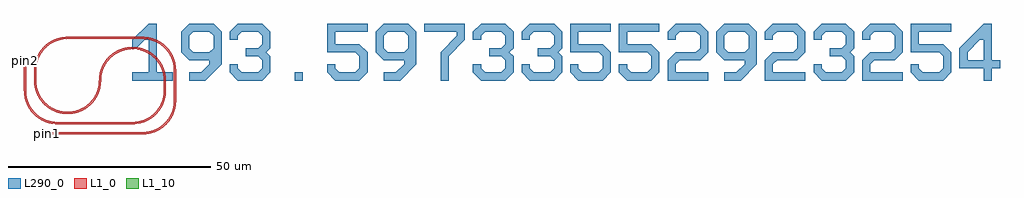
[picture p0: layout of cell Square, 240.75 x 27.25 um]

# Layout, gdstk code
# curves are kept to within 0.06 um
import gdstk
lib = gdstk.Library(unit=1e-6, precision=1e-09)
def R(c, l, rs):  # rectangles x0, y0, x1, y1
    for r in rs: c.add(gdstk.rectangle(r[:2], r[2:], *l))
def P(c, l, *ps):  # polygons
    for p in ps: c.add(gdstk.Polygon(p, *l))
L1_0 = (1, 0)
L1_10 = (1, 10)
L290_0 = (290, 0)

square = lib.new_cell('Square')
R(square, L1_0, [(-21,-13.25,2.5,-12.75), (-18.5,-10.75,0,-10.25), (10.25,-5,10.75,2.5), (-26.75,-2.5,-26.25,5), (7.75,-2.5,8.25,0), (-24.25,0,-23.75,2.5), (-16,10.25,2.5,10.75)])
P(square, L1_0, [(-8.25,0),(-8.094,1.597),(-7.632,3.134),(-6.825,4.636),(-5.869,5.798),(-4.636,6.825),(-3.134,7.632),(-1.597,8.094),(0,8.25),(0,7.75),(-1.593,7.585),(-2.944,7.169),(-4.355,6.411),(-5.447,5.513),(-6.411,4.355),(-7.133,3.031),(-7.585,1.593),(-7.75,0)],
  [(-16,-8.25),(-16,-7.75),(-14.407,-7.585),(-13.056,-7.169),(-11.645,-6.411),(-10.553,-5.513),(-9.589,-4.355),(-8.867,-3.031),(-8.415,-1.593),(-8.25,0),(-7.75,0),(-7.906,-1.597),(-8.368,-3.134),(-9.175,-4.636),(-10.131,-5.798),(-11.364,-6.825),(-12.866,-7.632),(-14.403,-8.094)],
  [(0,-10.75),(0,-10.25),(1.593,-10.085),(2.944,-9.669),(4.355,-8.911),(5.447,-8.013),(6.411,-6.855),(7.133,-5.531),(7.585,-4.093),(7.75,-2.5),(8.25,-2.5),(8.094,-4.097),(7.632,-5.634),(6.825,-7.136),(5.869,-8.298),(4.636,-9.325),(3.134,-10.132),(1.597,-10.594)],
  [(2.5,-13.25),(2.5,-12.75),(4.093,-12.585),(5.444,-12.169),(6.855,-11.411),(7.947,-10.513),(8.911,-9.355),(9.633,-8.031),(10.085,-6.593),(10.25,-5),(10.75,-5),(10.594,-6.597),(10.132,-8.134),(9.325,-9.636),(8.369,-10.798),(7.136,-11.825),(5.634,-12.632),(4.097,-13.094)],
  [(7.75,0),(7.621,1.408),(7.239,2.769),(6.566,4.118),(5.709,5.242),(4.737,6.134),(3.627,6.849),(2.769,7.239),(1.777,7.544),(0.848,7.704),(0,7.75),(0,8.25),(1.696,8.074),(3.319,7.553),(4.8,6.71),(6.077,5.58),(6.651,4.882),(7.145,4.125),(7.593,3.227),(7.9,2.377),(8.162,1.201),(8.25,0)],
  [(10.25,2.5),(10.121,3.908),(9.739,5.269),(9.066,6.618),(8.209,7.742),(7.237,8.634),(6.127,9.349),(5.269,9.739),(4.277,10.044),(3.348,10.204),(2.5,10.25),(2.5,10.75),(4.196,10.574),(5.819,10.053),(7.3,9.21),(8.577,8.08),(9.151,7.382),(9.645,6.625),(10.093,5.727),(10.4,4.877),(10.662,3.701),(10.75,2.5)],
  [(-24.25,2.5),(-24.094,4.097),(-23.632,5.634),(-22.825,7.136),(-21.869,8.298),(-20.636,9.325),(-19.134,10.132),(-17.597,10.594),(-16,10.75),(-16,10.25),(-17.593,10.085),(-18.944,9.669),(-20.355,8.911),(-21.447,8.013),(-22.411,6.855),(-23.133,5.531),(-23.585,4.093),(-23.75,2.5)],
  [(-16,-8.25),(-17.597,-8.094),(-19.134,-7.632),(-20.636,-6.825),(-21.798,-5.869),(-22.825,-4.636),(-23.632,-3.134),(-24.094,-1.597),(-24.25,0),(-23.75,0),(-23.585,-1.593),(-23.169,-2.944),(-22.411,-4.355),(-21.513,-5.447),(-20.355,-6.411),(-19.031,-7.133),(-17.593,-7.585),(-16,-7.75)],
  [(-18.5,-10.75),(-20.097,-10.594),(-21.634,-10.132),(-23.136,-9.325),(-24.298,-8.369),(-25.325,-7.136),(-26.132,-5.634),(-26.594,-4.097),(-26.75,-2.5),(-26.25,-2.5),(-26.085,-4.093),(-25.669,-5.444),(-24.911,-6.855),(-24.013,-7.947),(-22.855,-8.911),(-21.531,-9.633),(-20.093,-10.085),(-18.5,-10.25)])
R(square, L290_0, [(40,0,42,2)])
P(square, L290_0, [(0,0),(0,2),(4,2),(4,10),(3,10),(1,8),(0,8),(0,10),(4,14),(6,14),(6,2),(10,2),(10,0)],
  [(14,0),(14,2),(17,2),(19,4),(19,5),(14,5),(12,7),(19,7),(20,8),(20,11),(19,12),(15,12),(14,11),(14,8),(15,7),(12,7),(12,12),(14,14),(20,14),(22,12),(22,4),(18,0)],
  [(26,0),(24,2),(24,4),(26,4),(26,3),(27,2),(31,2),(32,3),(32,5),(31,6),(28,6),(28,8),(31,8),(32,9),(32,11),(31,12),(27,12),(26,11),(26,10),(24,10),(24,12),(26,14),(32,14),(34,12),(34,8),(33,7),(34,6),(34,2),(32,0)],
  [(50,0),(48,2),(48,4),(50,4),(50,3),(51,2),(55,2),(56,3),(56,6),(55,7),(48,7),(48,14),(58,14),(58,12),(50,12),(50,9),(56,9),(58,7),(58,2),(56,0)],
  [(62,0),(62,2),(65,2),(67,4),(67,5),(62,5),(60,7),(67,7),(68,8),(68,11),(67,12),(63,12),(62,11),(62,8),(63,7),(60,7),(60,12),(62,14),(68,14),(70,12),(70,4),(66,0)],
  [(76,0),(76,7),(80,11),(80,12),(72,12),(72,14),(82,14),(82,10),(78,6),(78,0)],
  [(86,0),(84,2),(84,4),(86,4),(86,3),(87,2),(91,2),(92,3),(92,5),(91,6),(88,6),(88,8),(91,8),(92,9),(92,11),(91,12),(87,12),(86,11),(86,10),(84,10),(84,12),(86,14),(92,14),(94,12),(94,8),(93,7),(94,6),(94,2),(92,0)],
  [(98,0),(96,2),(96,4),(98,4),(98,3),(99,2),(103,2),(104,3),(104,5),(103,6),(100,6),(100,8),(103,8),(104,9),(104,11),(103,12),(99,12),(98,11),(98,10),(96,10),(96,12),(98,14),(104,14),(106,12),(106,8),(105,7),(106,6),(106,2),(104,0)],
  [(110,0),(108,2),(108,4),(110,4),(110,3),(111,2),(115,2),(116,3),(116,6),(115,7),(108,7),(108,14),(118,14),(118,12),(110,12),(110,9),(116,9),(118,7),(118,2),(116,0)],
  [(122,0),(120,2),(120,4),(122,4),(122,3),(123,2),(127,2),(128,3),(128,6),(127,7),(120,7),(120,14),(130,14),(130,12),(122,12),(122,9),(128,9),(130,7),(130,2),(128,0)],
  [(132,0),(132,5),(134,7),(139,7),(140,8),(140,11),(139,12),(135,12),(134,11),(134,10),(132,10),(132,12),(134,14),(140,14),(142,12),(142,7),(140,5),(135,5),(134,4),(134,2),(142,2),(142,0)],
  [(146,0),(146,2),(149,2),(151,4),(151,5),(146,5),(144,7),(151,7),(152,8),(152,11),(151,12),(147,12),(146,11),(146,8),(147,7),(144,7),(144,12),(146,14),(152,14),(154,12),(154,4),(150,0)],
  [(156,0),(156,5),(158,7),(163,7),(164,8),(164,11),(163,12),(159,12),(158,11),(158,10),(156,10),(156,12),(158,14),(164,14),(166,12),(166,7),(164,5),(159,5),(158,4),(158,2),(166,2),(166,0)],
  [(170,0),(168,2),(168,4),(170,4),(170,3),(171,2),(175,2),(176,3),(176,5),(175,6),(172,6),(172,8),(175,8),(176,9),(176,11),(175,12),(171,12),(170,11),(170,10),(168,10),(168,12),(170,14),(176,14),(178,12),(178,8),(177,7),(178,6),(178,2),(176,0)],
  [(180,0),(180,5),(182,7),(187,7),(188,8),(188,11),(187,12),(183,12),(182,11),(182,10),(180,10),(180,12),(182,14),(188,14),(190,12),(190,7),(188,5),(183,5),(182,4),(182,2),(190,2),(190,0)],
  [(194,0),(192,2),(192,4),(194,4),(194,3),(195,2),(199,2),(200,3),(200,6),(199,7),(192,7),(192,14),(202,14),(202,12),(194,12),(194,9),(200,9),(202,7),(202,2),(200,0)],
  [(210,0),(210,3),(204,3),(204,5),(210,5),(210,10),(209,10),(206,7),(206,5),(204,5),(204,8),(210,14),(212,14),(212,5),(214,5),(214,3),(212,3),(212,0)])
square.add(gdstk.FlexPath([(-20.95,-13),(-21.05,-13)], 0.5, ends="flush", simple_path=True, layer=1, datatype=10))  # L1_10
square.add(gdstk.FlexPath([(-26.5,4.95),(-26.5,5.05)], 0.5, ends="flush", simple_path=True, layer=1, datatype=10))  # L1_10
square.add(gdstk.Label('pin1', (-21,-13), layer=1, texttype=10))
square.add(gdstk.Label('pin2', (-26.5,5), layer=1, texttype=10))

lib.write_gds('Square.gds')
